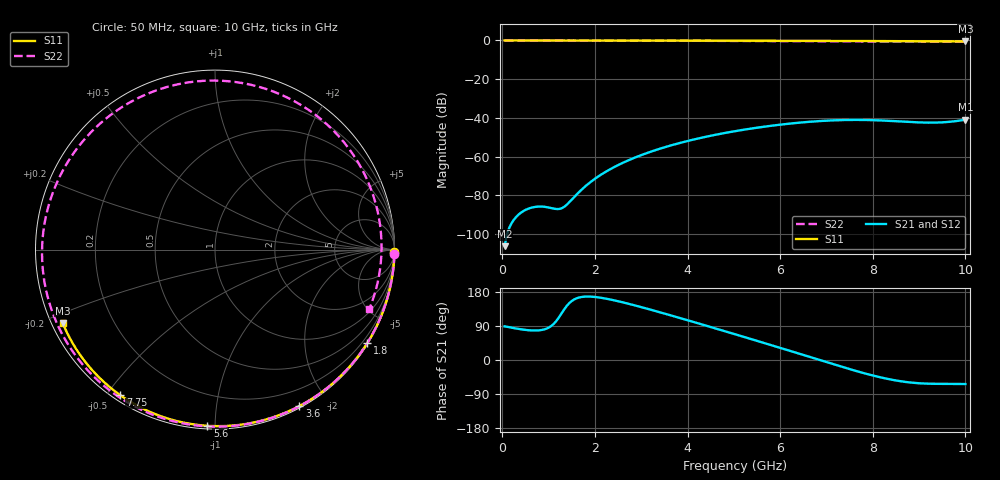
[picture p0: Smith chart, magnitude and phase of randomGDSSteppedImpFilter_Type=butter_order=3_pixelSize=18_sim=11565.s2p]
! freq	dB(S11)	phase(S11)	dB(S12)	phase(S12)
!  dB(S21)	phase(S21)	dB(S22)	phase(S22)
!S-par simulation data
#  GHz  S  DB  R 50
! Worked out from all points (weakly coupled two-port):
!   200 points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, 50 MHz to 10 GHz, reference 50 ohm
!   highest |S21| = -40.95 dB at 10 GHz (marker M1); lowest = -106.3 dB at 50 MHz (marker M2)
!   lowest |S11| = -0.5 dB at 10 GHz (marker M3), VSWR 33.48, Z = 1.57 - j11.4 ohm
!   |S11| at or under -10 dB: nowhere
!   |S22| runs from -0.7 to 0.0 dB; largest |S21 - S12| = 0
!   S11 on the Smith chart (normalised r, x): 50 MHz: open; 1.8 GHz: 0.03, -3.53; 3.6 GHz: 0.02, -1.68; 5.6 GHz: 0.02, -0.96; 7.75 GHz: 0.02, -0.54; 10 GHz: 0.03, -0.23
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0.05  -0.00 -0.9  -106.33 88.8  -106.33 88.8  -0.00 -1.5
0.75  -0.02 -13.3  -85.91 77.9  -85.91 77.9  -0.03 -23.0
1.55  -0.03 -27.3  -81.01 159.6  -81.01 159.6  -0.06 -47.1
1.6  -0.04 -28.2  -79.76 162.6  -79.76 162.6  -0.06 -48.6
1.75  -0.04 -30.8  -76.29 166.9  -76.29 166.9  -0.07 -53.1
1.8  -0.04 -31.7  -75.24 167.4  -75.24 167.4  -0.07 -54.6
2.45  -0.05 -42.7  -65.02 156.5  -65.02 156.5  -0.10 -73.9
3.4  -0.08 -58.4  -55.97 126.1  -55.97 126.1  -0.14 -101.8
3.6  -0.08 -61.7  -54.53 119.1  -54.53 119.1  -0.14 -107.7
4.3  -0.10 -72.8  -50.28 94.3  -50.28 94.3  -0.18 -128.8
5.05  -0.13 -84.3  -46.78 67.1  -46.78 67.1  -0.24 -152.6
5.6  -0.15 -92.5  -44.75 46.9  -44.75 46.9  -0.30 -171.3
6.15  -0.18 -100.5  -43.12 26.4  -43.12 26.4  -0.36 168.3
6.7  -0.21 -108.4  -41.92 5.7  -41.92 5.7  -0.41 145.8
7.3  -0.25 -116.8  -41.17 -16.8  -41.17 -16.8  -0.47 118.6
7.75  -0.29 -123.1  -41.07 -32.8  -41.07 -32.8  -0.51 96.3
8.05  -0.31 -127.3  -41.23 -42.4  -41.23 -42.4  -0.53 80.6
8.35  -0.34 -131.4  -41.54 -50.6  -41.54 -50.6  -0.56 64.5
8.8  -0.38 -137.6  -42.14 -59.2  -42.14 -59.2  -0.59 40.0
9.2  -0.42 -143.1  -42.48 -62.6  -42.48 -62.6  -0.61 18.6
9.6  -0.47 -148.7  -42.17 -62.8  -42.17 -62.8  -0.65 -1.9
10  -0.52 -154.3  -40.95 -63.6  -40.95 -63.6  -0.71 -21.0
